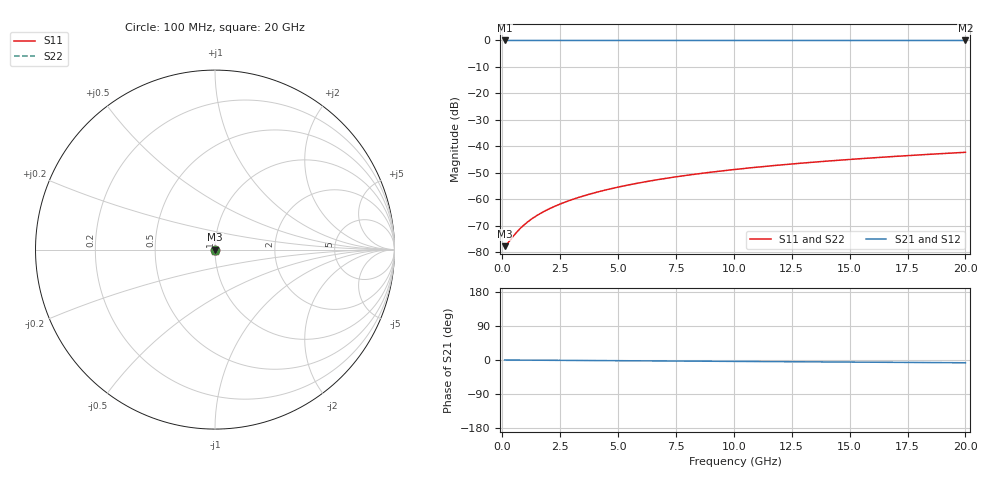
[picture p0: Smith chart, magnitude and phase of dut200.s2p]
! Touchstone file exported from HFSS 2026.1.0
!  File:  C:/ffzhzh/LocalFiles/Ansys_Project_Files/temp_train_TSV_200_1782991703_40604.aedt
!  Generated:  07:30:08 PM Jul  2, 2026
!  Design:  TSV
!  Project:  temp_train_TSV_200_1782991703_40604
! Variables:
!  h_bsmrdl = 2um
!  h_ox = 20um
!  h_rdl = 5um
!  h_sub = 73.9um
!  h_tmrdl = 5um
!  h_tsv = 73.9um
!  h_via = 3um
!  l_bsmrdl = 300um
!  l_sub = 419.4um
!  l_tmrdl = 200um
!  m_sub = 200um
!  pitch = 36.81um
!  r_tsv = 9.7um
!  s_tmrdl = 10um
!  w_bsmrdl = 18um
!  w_sub = 500um
!  w_tmrdl = 12um
!  x_tsv_center1 = 206um
!  x_tsv_center2 = 524um
!  x_tsv_center3 = 736um
!  x_tsv_center4 = 1054um
!  x_tsv_center5 = 1266um
!  x_tsv_center6 = 1584um
# GHz S MA R 50.000000
! Terminal data exported
! Port[1] = TSV1_1_T1
! Port[2] = TSV1_1_T2
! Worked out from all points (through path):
!   200 points, 100 MHz to 20 GHz, reference 50 ohm
!   highest |S21| = 0.00 dB at 100 MHz (marker M1); lowest = 0.0 dB at 20 GHz (marker M2)
!   group delay of S21, straight-line fit = 1.01 ps
!   lowest |S11| = -77.8 dB at 100 MHz (marker M3), VSWR 1.00, Z = 50 + j0.00048 ohm
!   |S11| at or under -10 dB: start of sweep to end of sweep
!   |S22| runs from -77.8 to -42.3 dB; largest |S21 - S12| = 3.3e-15
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0.1  0.0001285 2.1  0.9999 -0.0  0.9999 -0.0  0.0001285 2.1
! Gamma 0 0 0 0
! Port Impedance 50 0 50 0
0.2  0.0001407 2.7  0.9999 -0.1  0.9999 -0.1  0.0001407 2.7
0.6  0.0002305 -10.1  0.9998 -0.2  0.9998 -0.2  0.0002305 -10.1
0.8  0.0002849 -19.0  0.9997 -0.3  0.9997 -0.3  0.0002849 -19.0
0.9  0.0003131 -23.1  0.9997 -0.3  0.9997 -0.3  0.0003131 -23.1
1.1  0.0003708 -30.3  0.9997 -0.4  0.9997 -0.4  0.0003708 -30.3
1.4  0.0004599 -39.0  0.9996 -0.5  0.9996 -0.5  0.0004599 -39.0
1.8  0.0005826 -47.3  0.9996 -0.7  0.9996 -0.7  0.0005826 -47.3
2.3  0.0007414 -54.3  0.9996 -0.9  0.9996 -0.9  0.0007414 -54.3
2.9  0.0009392 -59.9  0.9995 -1.1  0.9995 -1.1  0.0009392 -59.9
3.5  0.001144 -63.7  0.9995 -1.3  0.9995 -1.3  0.001144 -63.7
4.2  0.001391 -66.9  0.9994 -1.5  0.9994 -1.5  0.001391 -66.9
5  0.001682 -69.7  0.9994 -1.8  0.9994 -1.8  0.001682 -69.7
5.9  0.002019 -72.1  0.9993 -2.2  0.9993 -2.2  0.002019 -72.1
6.8  0.002362 -74.1  0.9993 -2.5  0.9993 -2.5  0.002362 -74.1
8.3  0.002945 -76.8  0.9992 -3.0  0.9992 -3.0  0.002945 -76.8
10.1  0.003654 -79.3  0.9991 -3.7  0.9991 -3.7  0.003654 -79.3
11.7  0.00429 -81.1  0.999 -4.3  0.999 -4.3  0.00429 -81.1
13.4  0.004971 -82.8  0.9989 -4.9  0.9989 -4.9  0.004971 -82.8
15  0.005616 -84.2  0.9989 -5.5  0.9989 -5.5  0.005616 -84.2
16.7  0.006307 -85.5  0.9988 -6.1  0.9988 -6.1  0.006307 -85.5
20  0.007667 -87.6  0.9987 -7.3  0.9987 -7.3  0.007667 -87.6
